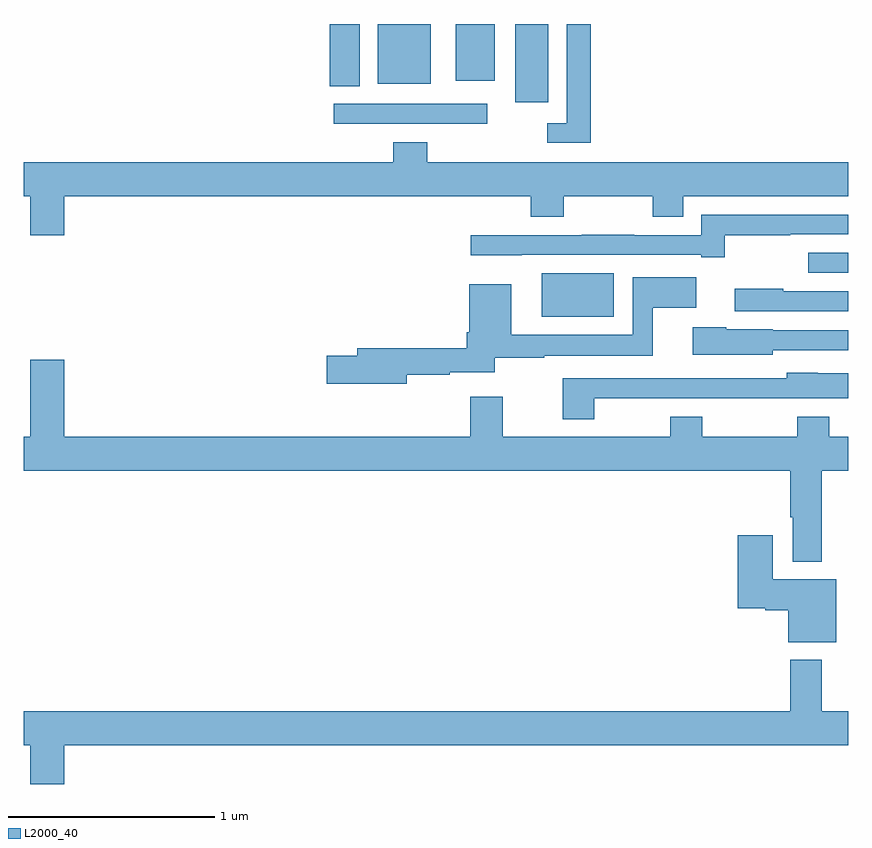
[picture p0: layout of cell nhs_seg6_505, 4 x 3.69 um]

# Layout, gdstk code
import gdstk
lib = gdstk.Library(unit=1e-6, precision=1e-09)
def R(c, l, rs):  # rectangles x0, y0, x1, y1
    for r in rs: c.add(gdstk.rectangle(r[:2], r[2:], *l))
def P(c, l, *ps):  # polygons
    for p in ps: c.add(gdstk.Polygon(p, *l))
L2000_40 = (2000, 40)

nhs_seg6_505 = lib.new_cell('nhs_seg6_505')
R(nhs_seg6_505, L2000_40, [(143.513,952.079,143.863,952.291), (144.807,952.293,145,952.389), (142.503,953.016,143.248,953.112), (143.384,953.121,143.545,953.5), (142.484,953.197,142.63,953.5), (142.718,953.21,142.975,953.5), (143.096,953.225,143.284,953.5)])
P(nhs_seg6_505, L2000_40, [(143.75,953.5),(143.634,953.5),(143.634,953.019),(143.541,953.019),(143.541,952.923),(143.75,952.923)],
  [(141.196,952.664),(143.459,952.664),(143.459,952.565),(143.619,952.565),(143.619,952.664),(144.052,952.664),(144.052,952.565),(144.199,952.565),(144.199,952.664),(145,952.664),(145,952.828),(142.958,952.828),(142.958,952.927),(142.793,952.927),(142.793,952.828),(141,952.828),(141,952.664),(141.032,952.664),(141.032,952.476),(141.196,952.476)],
  [(144.401,952.474),(144.719,952.474),(144.719,952.479),(145,952.479),(145,952.575),(144.287,952.575),(144.287,952.476),(143.963,952.476),(143.963,952.478),(143.707,952.478),(143.707,952.476),(143.169,952.476),(143.169,952.379),(143.417,952.379),(143.417,952.38),(144.287,952.38),(144.287,952.368),(144.401,952.368)],
  [(142.858,951.798),(143.066,951.798),(143.066,951.81),(143.285,951.81),(143.285,951.88),(143.525,951.88),(143.525,951.89),(144.053,951.89),(144.053,952.124),(144.262,952.124),(144.262,952.27),(143.955,952.27),(143.955,951.991),(143.365,951.991),(143.365,952.237),(143.162,952.237),(143.162,952.003),(143.15,952.003),(143.15,951.926),(142.619,951.926),(142.619,951.89),(142.47,951.89),(142.47,951.755),(142.858,951.755)],
  [(145,952.203),(144.685,952.203),(144.685,952.216),(144.449,952.216),(144.449,952.107),(145,952.107)],
  [(144.633,951.918),(145,951.918),(145,952.014),(144.633,952.014),(144.633,952.018),(144.408,952.018),(144.408,952.029),(144.246,952.029),(144.246,951.896),(144.633,951.896)],
  [(144.291,951.595),(144.136,951.595),(144.136,951.496),(143.325,951.496),(143.325,951.691),(143.165,951.691),(143.165,951.496),(141.196,951.496),(141.196,951.871),(141.032,951.871),(141.032,951.496),(141,951.496),(141,951.332),(144.719,951.332),(144.719,951.106),(144.731,951.106),(144.731,950.891),(144.871,950.891),(144.871,951.332),(145,951.332),(145,951.496),(144.909,951.496),(144.909,951.595),(144.754,951.595),(144.754,951.496),(144.291,951.496)],
  [(143.769,951.683),(144.047,951.683),(144.047,951.684),(144.379,951.684),(144.379,951.683),(144.702,951.683),(144.702,951.684),(145,951.684),(145,951.805),(144.852,951.805),(144.852,951.808),(144.702,951.808),(144.702,951.78),(143.614,951.78),(143.614,951.582),(143.769,951.582)],
  [(144.943,950.806),(144.634,950.806),(144.634,951.019),(144.464,951.019),(144.464,950.666),(144.597,950.666),(144.597,950.654),(144.71,950.654),(144.71,950.501),(144.943,950.501)],
  [(141.196,950),(145,950),(145,950.164),(144.871,950.164),(144.871,950.416),(144.719,950.416),(144.719,950.164),(141,950.164),(141,950),(141.032,950),(141.032,949.812),(141.196,949.812)])

lib.write_gds('nhs_seg6_505.gds')
